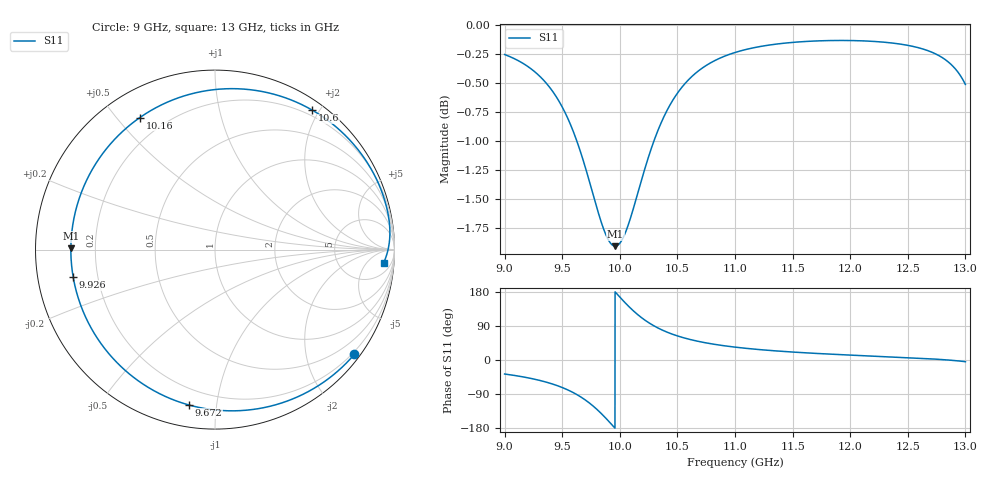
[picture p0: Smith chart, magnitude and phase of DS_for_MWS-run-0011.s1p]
! TOUCHSTONE file generated by CST DESIGN STUDIO
! Date and time: Tue Feb  4 17:26:19 2025
! Project name: C:\Work\MatlabApps\UnitCellOptimizationMatlab\CST\unitcell.cst
! Tree item: Tasks\Sweep1\SPara1\S-Parameters
! Header version: 2024
! Port assignment regex: !\s*Touchstone port\s*([0-9]+)\s*=\s*(CST MWS port|CST DES external port|CST DES block port)\s*(.+)\s* \(\"(.*)\"\)(\s*mode\s*([0-9]+))?.*
! Touchstone port assignment:
! Touchstone port 1 = CST DES external port 1 ("")
# GHz S MA R 50
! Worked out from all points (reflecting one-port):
!   4001 points, 9 GHz to 13 GHz, reference 50 ohm
!   lowest |S11| = -1.9 dB at 9.96 GHz (marker M1), VSWR 9.16, Z = 5.46 + j0.222 ohm
!   phase of S11 starts at -37 deg and turns -327 deg over the sweep
!   S11 on the Smith chart (normalised r, x): 9 GHz: 0.15, -2.99; 9.672 GHz: 0.11, -0.84; 9.926 GHz: 0.11, -0.09; 10.16 GHz: 0.11, +0.58; 10.6 GHz: 0.13, +1.91; 13 GHz: 12, -16
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9  0.9712 -37.0
9.148  0.9635 -43.9
9.282  0.9528 -52.2
9.397  0.9393 -61.6
9.5  0.922 -72.6
9.595  0.9002 -85.9
9.672  0.8778 -99.6
9.737  0.8561 -113.7
9.798  0.8353 -129.4
9.867  0.8151 -149.8
9.926  0.8049 -169.1
9.96  0.8032 179.5
10  0.8055 166.0
10.039  0.8119 153.3
10.081  0.8224 140.3
10.156  0.8465 119.6
10.222  0.8687 104.3
10.296  0.8914 90.2
10.395  0.9157 75.4
10.5  0.9346 63.6
10.598  0.9473 55.1
10.777  0.9625 43.6
11  0.9731 34.0
11.5  0.9829 21.0
12  0.9847 13.0
12.5  0.98 6.2
12.79  0.9688 1.3
13  0.9428 -4.4
